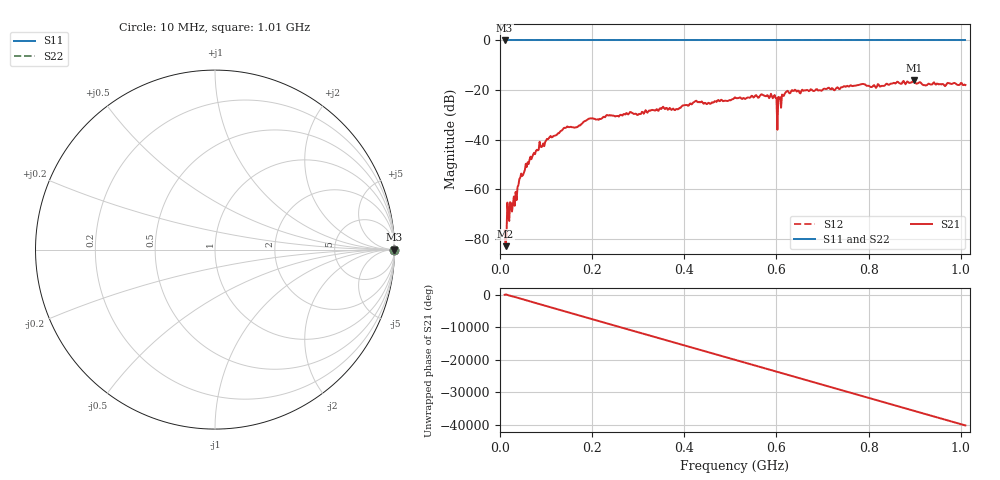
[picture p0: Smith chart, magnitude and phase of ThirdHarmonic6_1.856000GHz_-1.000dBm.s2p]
! 8/16/2025 10:27:12 PM
! C:\ANRITSUVNA\TEMP\TEMP.S2P
! CHANNEL.1
! TR.MEASUREMENT
! RAW.DATA
! RF.CORRECTION.OFF
! AVERAGING.OFF
! IF.BANDWIDTH: 5KHZ
! SWEEPTYPE:  FREQ.SWEEP(Linear)
! Reference Plane Port Info
! PORT:  PORT1  PORT2
! DISTANCE:  0  m  0  m
! TIME:  0  s  0  s
! PHASE.OFFSET:  0  deg.  0  deg.
! LOSS:  0  dB  0  dB
! REF.LOSS:  0  dB  0  dB
! REF.FREQ:  0  Hz  0  Hz
! Power Info
! POWER:  -20  dBm  -20  dBm
! EFF.POWER:  -20  dBm  -20  dBm
! SOURCE.ATTEN:  0  dB  0  dB
! TEST.ATTEN:  0  dB  0  dB
# GHZ S RI R 50.0
! FREQ.GHZ  S11RE  S11IM  S21RE  S21IM  S12RE  S12IM  S22RE  S22IM
!; PortSelection: Port_12
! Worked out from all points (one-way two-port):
!   501 points, 10 MHz to 1.01 GHz, reference 50 ohm
!   highest |S21| = -16.05 dB at 898 MHz (marker M1); lowest = -82.9 dB at 12 MHz (marker M2)
!   lowest |S11| = 0.0 dB at 10 MHz (marker M3)
!   |S11| at or under -10 dB: nowhere
!   |S22| runs from 0.0 to 0.0 dB; largest |S21 - S12| = 1.1
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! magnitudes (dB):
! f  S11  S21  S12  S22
! 10 MHz  0.0  -76.6  0.0  0.0
! 12 MHz  0.0  -82.9  0.0  0.0
! 16 MHz  0.0  -65.3  0.0  0.0
! 20 MHz  0.0  -72.8  0.0  0.0
! 22 MHz  0.0  -65.2  0.0  0.0
! 32 MHz  0.0  -66.6  0.0  0.0
! 42 MHz  0.0  -55.9  0.0  0.0
! 70 MHz  0.0  -46.9  0.0  0.0
! 106 MHz  0.0  -39.4  0.0  0.0
! 178 MHz  0.0  -33.5  0.0  0.0
! 196 MHz  0.0  -31.4  0.0  0.0
! 344 MHz  0.0  -28.4  0.0  0.0
! 510 MHz  0.0  -22.9  0.0  0.0
! 592 MHz  0.0  -23.3  0.0  0.0
! 598 MHz  0.0  -23.1  0.0  0.0
! 606 MHz  0.0  -23.4  0.0  0.0
! 608 MHz  0.0  -22.9  0.0  0.0
! 622 MHz  0.0  -20.6  0.0  0.0
! 678 MHz  0.0  -20.1  0.0  0.0
! 844 MHz  0.0  -17.9  0.0  0.0
! 898 MHz  0.0  -16.1  0.0  0.0
! 1.01 GHz  0.0  -18.0  0.0  0.0
